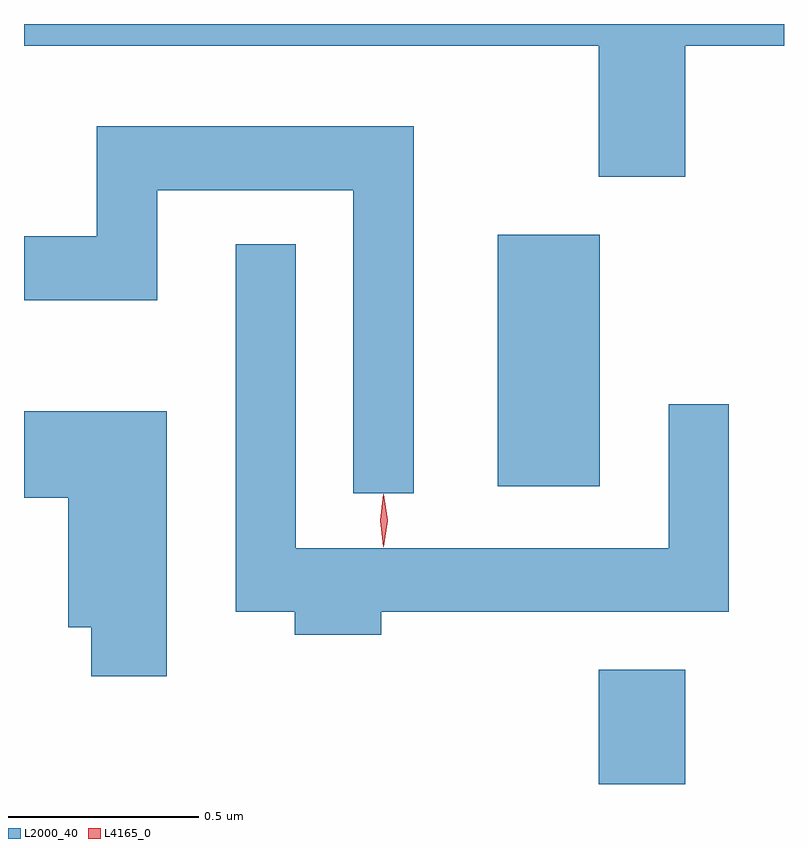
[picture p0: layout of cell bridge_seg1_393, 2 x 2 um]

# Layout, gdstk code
import gdstk
lib = gdstk.Library(unit=1e-6, precision=1e-09)
def R(c, l, rs):  # rectangles x0, y0, x1, y1
    for r in rs: c.add(gdstk.rectangle(r[:2], r[2:], *l))
def P(c, l, *ps):  # polygons
    for p in ps: c.add(gdstk.Polygon(p, *l))
L2000_40 = (2000, 40)
L4165_0 = (4165, 0)

bridge_seg1_393 = lib.new_cell('bridge_seg1_393')
R(bridge_seg1_393, L2000_40, [(889.291,868.773,889.519,869.074), (889.026,869.556,889.294,870.219)])
P(bridge_seg1_393, L2000_40, [(889.519,870.716),(889.779,870.716),(889.779,870.773),(887.779,870.773),(887.779,870.716),(889.291,870.716),(889.291,870.371),(889.519,870.371)],
  [(888.804,870.504),(887.971,870.504),(887.971,870.214),(887.779,870.214),(887.779,870.046),(888.129,870.046),(888.129,870.336),(888.646,870.336),(888.646,869.538),(888.804,869.538)],
  [(888.719,869.226),(889.634,869.226),(889.634,869.773),(889.476,869.773),(889.476,869.394),(888.494,869.394),(888.494,870.193),(888.336,870.193),(888.336,869.226),(888.491,869.226),(888.491,869.166),(888.719,869.166)],
  [(888.154,869.754),(887.779,869.754),(887.779,869.526),(887.896,869.526),(887.896,869.186),(887.956,869.186),(887.956,869.056),(888.154,869.056)])
P(bridge_seg1_393, L4165_0, [(888.726,869.399),(888.725,869.4),(888.716,869.466),(888.725,869.532),(888.726,869.533),(888.726,869.532),(888.736,869.466),(888.726,869.4)],
  [(888.725,869.397),(888.716,869.467),(888.725,869.536),(888.726,869.536),(888.726,869.536),(888.736,869.467),(888.726,869.397),(888.726,869.397)])

lib.write_gds('bridge_seg1_393.gds')
